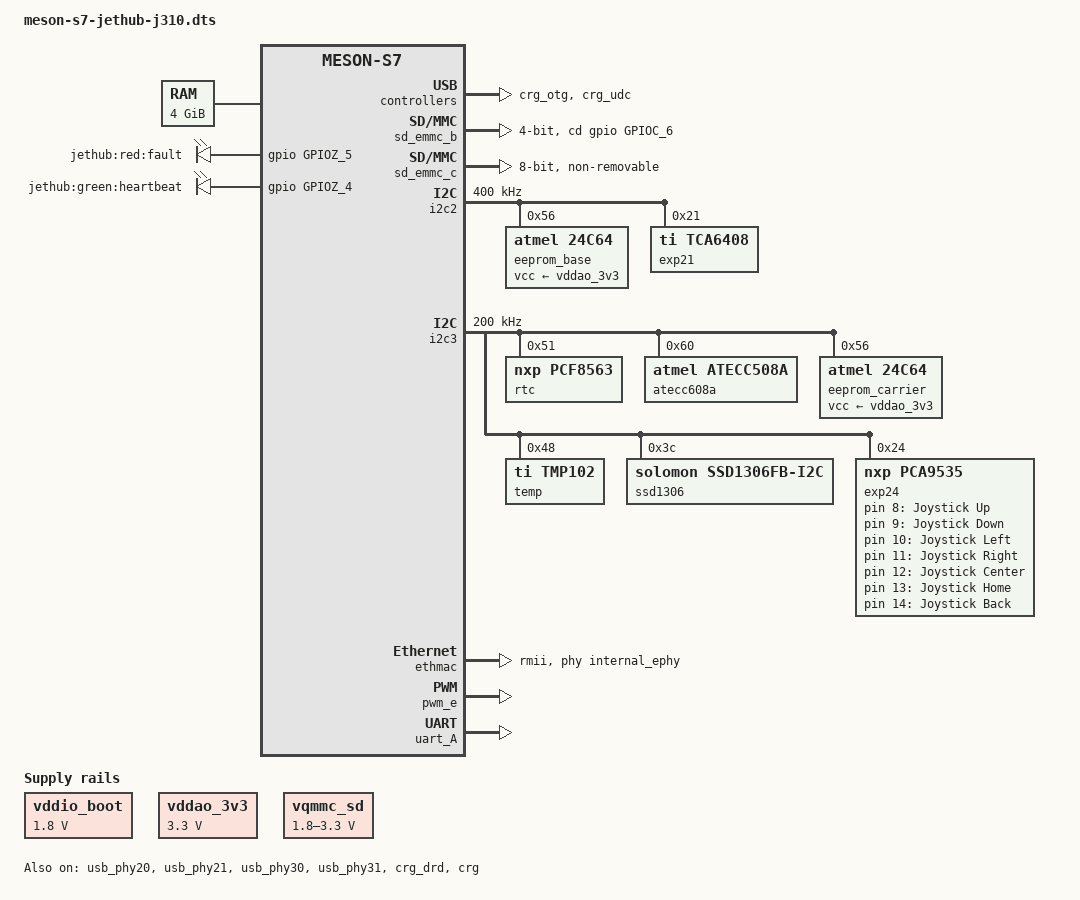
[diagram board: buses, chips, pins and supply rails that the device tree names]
// SPDX-License-Identifier: (GPL-2.0+ OR MIT)
/*
 * Copyright (c) 2026 JetHome
 */

/dts-v1/;

#include "meson-s7.dtsi"
#include "partition_normal_linux.dtsi"

/ {
	amlogic-dt-id = "s7_s905y5_j310";
	compatible = "s7_s905y5_j310";
	interrupt-parent = <&gic>;
	#address-cells = <2>;
	#size-cells = <2>;

	aliases {
		serial0 = &uart_B;
		serial1 = &uart_A;
		serial2 = &uart_C;
		serial3 = &uart_D;
		serial4 = &uart_E;
		i2c0 = &i2c0;
		i2c1 = &i2c1;
		i2c2 = &i2c2;
		i2c3 = &i2c3;
		i2c4 = &i2c4;
		spi0 = &spifc;
		spi1 = &spicc0;
		tsensor0 = &p_tsensor;
	};

	chosen {
		stdout-path = "serial0:921600n8";
	};

	/* 4GiB RAM */
	memory@0 {
		device_type = "memory";
		reg = <0x0 0x0 0x1 0x00000000>;
	};

	reserved-memory {
		#address-cells = <2>;
		#size-cells = <2>;
		ranges;

		ramdump_bl33z@00000000 {
			reg = <0x0 0x0 0x0 0x1800000>; /* 0 ~ 24M */
			status = "disabled";
		};

		/* global autoconfigured region for contiguous allocations */
		ramoops@0x07400000 {
			compatible = "ramoops";
			reg = <0x0 0x07400000 0x0 0x00080000>;	/* addr set in uboot */
			record-size = <0x30000>;
			console-size = <0x40000>;
			ftrace-size = <0x0>;
			pmsg-size = <0x10000>;
		};

		secmon_reserved:linux,secmon {
			compatible = "shared-dma-pool";
			no-map;
			alignment = <0x0 0x100000>;
			reg = <0x0 0x05000000 0x0 0x2300000>;
		};

		dmaheap_cma_reserved:heap-gfx {
			compatible = "shared-dma-pool";
			reusable;
			size = <0x0 0x3000000>;	/* 48 MB for DRM/Mali GPU buffers */
			alignment = <0x0 0x400000>;
		};

		linux,cma {
			compatible = "shared-dma-pool";
			reusable;
			/*
			 * 64MB default CMA. 32MB worked for USB/MMC alone but
			 * Mali GPU + DRM need more contiguous memory. SDK
			 * reference 8MB is too small even without GPU - MMC/USB
			 * exhausted it at ~0.3s with -ENOMEM, causing downstream
			 * allocator corruption.
			 */
			size = <0x0 0x4000000>;
			alignment = <0x0 0x400000>;
			linux,cma-default;
			alloc-ranges = <0x0 0x0 0x0 0x30000000>;
		};

		ion_cma_reserved:linux,ion-dev {
			compatible = "shared-dma-pool";
			reusable;
			size = <0x0 0x0>;
		};
		ion_fb_reserved:linux,ion-fb {
			compatible = "shared-dma-pool";
			reusable;
			size = <0x0 0x0>;
		};
		logo_reserved:linux,meson-fb {
			compatible = "shared-dma-pool";
			reusable;
			size = <0x0 0x0>;
		};
		codec_mm_cma:linux,codec_mm_cma {
			compatible = "shared-dma-pool";
			reusable;
			size = <0x0 0x0>;
		};
		codec_mm_reserved:linux,codec_mm_reserved {
			compatible = "amlogic, codec-mm-reserved";
			size = <0x0 0x0>;
		};
		secure_vdec_reserved:linux,secure_vdec_reserved {
			compatible = "amlogic, secure-vdec-reserved";
			size = <0x0 0x0>;
		};
		ppmgr_reserved:linux,ppmgr {
			compatible = "shared-dma-pool";
			size = <0x0 0x0>;
		};
	};

	thermal-zones {
		soc_thermal: soc_thermal {
			polling-delay = <1000>;
			polling-delay-passive = <100>;
			sustainable-power = <1160>;
			thermal-sensors = <&p_tsensor 0>;

			trips {
				pcontrol: trip-point@0 {
					temperature = <75000>;
					hysteresis = <5000>;
					type = "passive";
				};
				pcritical: trip-point@1 {
					temperature = <100000>;
					hysteresis = <1000>;
					type = "critical";
				};
			};

			cooling-maps {
				cpufreq_cooling_map {
					trip = <&pcontrol>;
					cooling-device = <&CPU0 0 7>;
					contribution = <1024>;
				};
			};
		};
	};/*thermal zone end*/

	vddio_boot: regulator-vddio-boot {
		compatible = "regulator-fixed";
		regulator-name = "VDDIO_BOOT";
		regulator-min-microvolt = <1800000>;
		regulator-max-microvolt = <1800000>;
		regulator-boot-on;
		regulator-always-on;
	};

	vddao_3v3: regulator-vddao-3v3 {
		compatible = "regulator-fixed";
		regulator-name = "VDDAO_3V3";
		regulator-min-microvolt = <3300000>;
		regulator-max-microvolt = <3300000>;
		regulator-boot-on;
		regulator-always-on;
	};

	/*
	 * SD card IO voltage, switched via TPS2116 power mux:
	 *   PR1 = HIGH -> 3.3V (default speed / init)
	 *   PR1 = LOW  -> 1.8V (UHS-I signaling)
	 * PR1 is driven by GPIOH_6
	 */
	vqmmc_sd: regulator-vqmmc-sd {
		compatible = "regulator-gpio";
		regulator-name = "VQMMC_SD";
		regulator-min-microvolt = <1800000>;
		regulator-max-microvolt = <3300000>;

		gpios = <&gpio GPIOH_6 GPIO_ACTIVE_HIGH>;
		states = <3300000 1>,	/* GPIOH_6 HIGH -> PR1 HIGH -> 3.3V */
			 <1800000 0>;	/* GPIOH_6 LOW  -> PR1 LOW  -> 1.8V */

		regulator-boot-on;
	};
	gpio-keys {
		compatible = "gpio-keys-polled";
		poll-interval = <100>;

		button_up {
			label = "Joystick Up";
			gpios = <&exp24 8 GPIO_ACTIVE_HIGH>;
			linux,code = <KEY_UP>;
			debounce-interval = <10>;
		};

		button_down {
			label = "Joystick Down";
			gpios = <&exp24 9 GPIO_ACTIVE_HIGH>;
			linux,code = <KEY_DOWN>;
			debounce-interval = <10>;
		};

		button_left {
			label = "Joystick Left";
			gpios = <&exp24 10 GPIO_ACTIVE_HIGH>;
			linux,code = <KEY_LEFT>;
			debounce-interval = <10>;
		};

		button_right {
			label = "Joystick Right";
			gpios = <&exp24 11 GPIO_ACTIVE_HIGH>;
			linux,code = <KEY_RIGHT>;
			debounce-interval = <10>;
		};

		button_center {
			label = "Joystick Center";
			gpios = <&exp24 12 GPIO_ACTIVE_HIGH>;
			linux,code = <KEY_ENTER>;
			debounce-interval = <10>;
		};

		button_home {
			label = "Joystick Home";
			gpios = <&exp24 13 GPIO_ACTIVE_HIGH>;
			linux,code = <KEY_HOME>;
			debounce-interval = <10>;
		};

		button_back {
			label = "Joystick Back";
			gpios = <&exp24 14 GPIO_ACTIVE_HIGH>;
			linux,code = <KEY_BACK>;
			debounce-interval = <10>;
		};
	};

	leds {
		compatible = "gpio-leds";

		led_red: led-red {
			label = "jethub:red:fault";
			gpios = <&gpio GPIOZ_5 GPIO_ACTIVE_HIGH>;
			default-state = "off";
		};

		led_green: led-green {
			label = "jethub:green:heartbeat";
			gpios = <&gpio GPIOZ_4 GPIO_ACTIVE_HIGH>;
			linux,default-trigger = "heartbeat";
		};
	};
};

&vddcpu0 {
	status = "okay";
};

&usb_phy20 {
	status = "okay";
	portnum = <1>;
};

&usb_phy21 {
	status = "okay";
	portnum = <1>;
};

&usb_phy30 {
	status = "okay";
	portnum = <0>;
};

&usb_phy31 {
	status = "okay";
	portnum = <0>;
};

&crg_otg {
	status = "okay";
	controller-type = <1>; /* 0~3: normal, host, device, otg */
};

&crg_drd {
	status = "okay";
};

&crg_udc {
	status = "okay";
};

&crg {
	status = "okay";
};

/* SD card */
&sd_emmc_b {
	status = "okay";
	pinctrl-0 = <&sdcard_pins>;
	pinctrl-1 = <&sdcard_clk_gate_pins>;
	pinctrl-2 = <&sd_1bit_pins>;
	pinctrl-names = "sd_default", "clk-gate", "sd_1bit_pins";

	bus-width = <4>;
	cap-sd-highspeed;
	max-frequency = <50000000>;
	disable-wp;

	cd-gpios = <&gpio GPIOC_6 GPIO_ACTIVE_HIGH>;
};

&sd_emmc_c {
	status = "okay";
	pinctrl-0 = <&emmc_pins>, <&emmc_ds_pins>;
	pinctrl-1 = <&emmc_clk_gate_pins>;
	pinctrl-names = "default", "clk-gate";

	bus-width = <8>;
	cap-mmc-highspeed;
	mmc-hs400-1_8v;
	max-frequency = <200000000>;
	non-removable;
	disable-wp;
};

&i2c2 {
	status = "okay";
    pinctrl-names = "default";
    pinctrl-0 = <&i2c2_pins2>;
    clock-frequency = <400000>;

	/* EEPROM on base board */
	eeprom_base: eeprom@56 {
		compatible = "atmel,24c64";
		reg = <0x56>;
		pagesize = <0x20>;
		label = "eeprom_base";
		address-width = <0x10>;
		vcc-supply = <&vddao_3v3>;
	};



	exp21: gpio@21 {
		compatible = "ti,tca6408";
		reg = <0x21>;
		gpio-controller;
		#gpio-cells = <2>;

		//Add later
		//gpio-line-names =
	};
};

&i2c3 {
    status = "okay";
    pinctrl-names = "default";
    pinctrl-0 = <&i2c3_pins2>;
    clock-frequency = <200000>;

	rtc: rtc@51 {
		status = "okay";
		compatible = "nxp,pcf8563";
		reg = <0x51>;
		wakeup-source;
	};

	/* Crypto */
	atecc608a: crypto@60 {
		compatible = "atmel,atecc508a";
		reg = <0x60>;
	};

	/* EEPROM on cpu carrier board */
	eeprom_carrier: eeprom@56 {
		compatible = "atmel,24c64";
		reg = <0x56>;
		pagesize = <0x20>;
		label = "eeprom_carrier";
		address-width = <0x10>;
		vcc-supply = <&vddao_3v3>;
	};

	/* temperature sensors */
	temp: tmp102@48 {
		compatible = "ti,tmp102";
		reg = <0x48>;
	};

	ssd1306: oled@3c {
		compatible = "solomon,ssd1306fb-i2c";
		reg = <0x3c>;
		solomon,width = <128>;
		solomon,height = <64>;
		solomon,com-invdir;
		solomon,page-offset = <0>;
		solomon,dclk-div = <1>;
		solomon,dclk-frq = <15>;
		solomon,prechargep1 = <1>;
		solomon,prechargep2 = <15>;
	};

	exp24: gpio@24 {
		compatible = "nxp,pca9535";
		reg = <0x24>;
		gpio-controller;
		#gpio-cells = <2>;

		gpio-line-names =
			"", "", "", "", "", "", "", "",
			"JOY_UP", "JOY_DOWN", "JOY_LEFT", "JOY_RIGHT",
			"JOY_CENTER", "JOY_HOME", "JOY_BACK", "";
	};
};

&ethmac {
	pinctrl-0 = <&eth_led_pins>;
	pinctrl-names = "default";
	status = "okay";
	phy-handle = <&internal_ephy>;
	phy-mode = "rmii";
};

&pwm_e {
	pinctrl-0 = <&pwm_e_pins1>;
	pinctrl-1 = <&pwm_e_pins1_sleep>;
	pinctrl-names = "default","sleep";
	status = "okay";
};

&uart_A {
	status = "okay";
	uart-has-rtscts;
};
